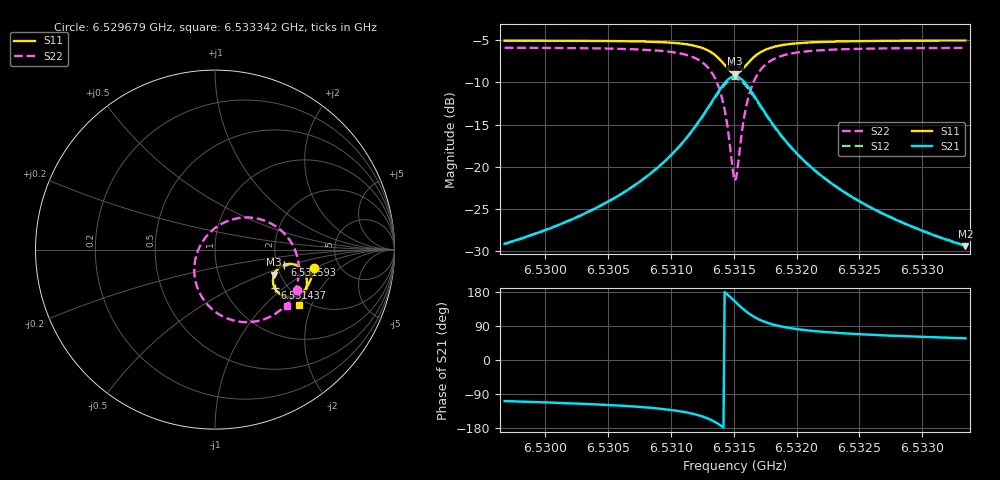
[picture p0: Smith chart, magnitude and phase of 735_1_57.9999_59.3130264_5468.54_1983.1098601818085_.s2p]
#  HZ  S  RI  R  50.00
! Rohde & Schwarz Vector Network Analyzer
! Rohde-Schwarz,ZNB20-2Port,1311601062101988,3.16
! Created: UTC 3/21/2024, 1:23:14 AM
! freq[Hz]  re:S11  im:S11  re:S21  im:S21  re:S12  im:S12  re:S22  im:S22
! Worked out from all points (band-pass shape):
!   401 points, 6.529679 GHz to 6.533342 GHz, reference 50 ohm
!   highest |S21| = -9.28 dB at 6.53151 GHz (marker M1); lowest = -29.4 dB at 6.533342 GHz (marker M2)
!   |S21| within 3 dB of the highest: 6.531327 GHz to 6.531693 GHz (366.1 kHz wide, 0.0056 % of centre)
!   lowest |S11| = -8.9 dB at 6.53151 GHz (marker M3), VSWR 2.11, Z = 92.8 - j29.7 ohm
!   |S11| at or under -10 dB: nowhere
!   |S22| runs from -21.7 to -5.9 dB; largest |S21 - S12| = 0.015
!   S11 on the Smith chart (normalised r, x): 6.529679 GHz: 3.22, -0.99; 6.531437 GHz: 1.72, -0.87; 6.531593 GHz: 2.20, -0.44; 6.533342 GHz: 1.81, -1.64
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6.529679e9  0.5502 -0.1051  -0.011 -0.033  -0.0118 -0.0328  0.4564 -0.2232
6.5302925e9  0.5364 -0.157  -0.0222 -0.0467  -0.0235 -0.0462  0.4195 -0.2812
6.5306313e9  0.5226 -0.1897  -0.0366 -0.0605  -0.0382 -0.0595  0.3821 -0.3222
6.530906e9  0.5031 -0.221  -0.0621 -0.0787  -0.0644 -0.0769  0.3251 -0.3645
6.5311258e9  0.4701 -0.2503  -0.1109 -0.0985  -0.114 -0.0943  0.2277 -0.3999
6.5312815e9  0.4185 -0.2654  -0.1912 -0.0989  -0.1932 -0.0903  0.0829 -0.3889
6.5313731e9  0.3677 -0.2515  -0.2691 -0.0583  -0.2663 -0.0465  -0.0434 -0.3045
6.5314097e9  0.3459 -0.2332  -0.3009 -0.0205  -0.2944 -0.00871  -0.0886 -0.235
6.5314372e9  0.3323 -0.2128  -0.3189 0.0182  -0.3095 0.0291  -0.1105 -0.167
6.5314921e9  0.3239 -0.1586  -0.3219 0.1155  -0.3084 0.1206  -0.0959 -0.00744
6.5315104e9  0.3287 -0.1397  -0.3101 0.1482  -0.2962 0.151  -0.0702 0.0435
6.5315287e9  0.3374 -0.1222  -0.2919 0.1781  -0.2785 0.1784  -0.0351 0.0885
6.5315654e9  0.3637 -0.0953  -0.2423 0.2228  -0.2314 0.2196  0.0541 0.1523
6.5315928e9  0.3872 -0.084  -0.2 0.2412  -0.1915 0.2365  0.1264 0.1748
6.5316295e9  0.4175 -0.0796  -0.1468 0.2479  -0.1411 0.2428  0.2156 0.1763
6.5316661e9  0.4433 -0.0837  -0.1025 0.2409  -0.0988 0.2365  0.2886 0.1565
6.531776e9  0.4892 -0.115  -0.0246 0.1933  -0.0232 0.1913  0.4123 0.0584
6.5319042e9  0.5077 -0.1509  0.00818 0.1445  0.00952 0.1437  0.4584 -0.038
6.532124e9  0.512 -0.1936  0.0223 0.0954  0.0235 0.0951  0.4674 -0.1379
6.5323987e9  0.5054 -0.2294  0.0238 0.0649  0.0248 0.0646  0.4542 -0.2059
6.5327375e9  0.4934 -0.2623  0.0217 0.0455  0.0226 0.045  0.4338 -0.2566
6.5333419e9  0.4688 -0.309  0.0181 0.0284  0.0188 0.0283  0.3984 -0.3137
